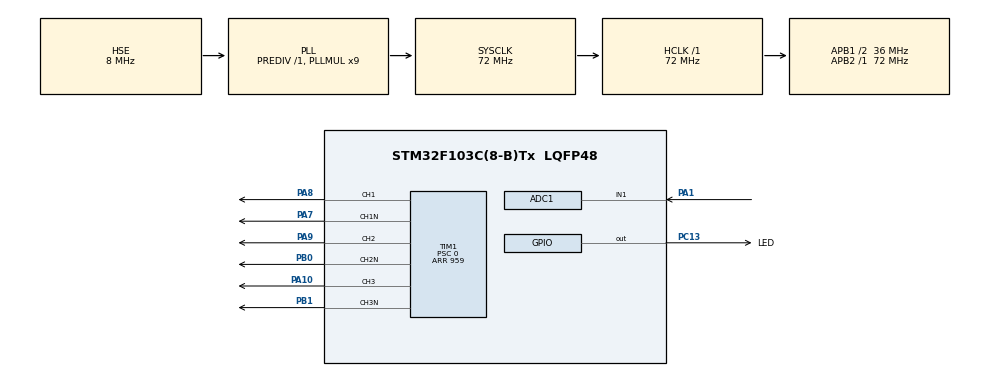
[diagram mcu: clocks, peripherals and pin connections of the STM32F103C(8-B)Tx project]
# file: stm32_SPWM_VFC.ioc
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ADC1.Channel-0\#ChannelRegularConversion=ADC_CHANNEL_1
ADC1.ExternalTrigConv=ADC_EXTERNALTRIGCONV_T3_TRGO
ADC1.NbrOfConversionFlag=1
ADC1.Rank-0\#ChannelRegularConversion=1
ADC1.SamplingTime-0\#ChannelRegularConversion=ADC_SAMPLETIME_1CYCLE_5
ADC1.master=1
Mcu.Family=STM32F1
Mcu.Name=STM32F103C(8-B)Tx
Mcu.Package=LQFP48
NVIC.ADC1_2_IRQn=true\:0\:0\:false\:false\:true\:true\:true\:true
NVIC.PriorityGroup=NVIC_PRIORITYGROUP_4
NVIC.TIM1_CC_IRQn=true\:0\:0\:false\:false\:true\:true\:true\:true
NVIC.TIM1_TRG_COM_IRQn=true\:0\:0\:false\:false\:true\:true\:true\:true
NVIC.TIM1_UP_IRQn=true\:0\:0\:false\:false\:true\:true\:true\:true
NVIC.TIM2_IRQn=true\:0\:0\:false\:false\:true\:true\:true\:true
NVIC.TIM3_IRQn=true\:0\:0\:false\:false\:true\:true\:true\:true
PA1.Signal=ADCx_IN1
PA10.Signal=S_TIM1_CH3
PA7.Mode=PWM Generation1 CH1 CH1N
PA7.Signal=TIM1_CH1N
PA8.Signal=S_TIM1_CH1
PA9.Signal=S_TIM1_CH2
PB0.Mode=PWM Generation2 CH2 CH2N
PB0.Signal=TIM1_CH2N
PB1.Mode=PWM Generation3 CH3 CH3N
PB1.Signal=TIM1_CH3N
PC13-TAMPER-RTC.GPIO_Label=LED
PC13-TAMPER-RTC.GPIO_Speed=GPIO_SPEED_FREQ_HIGH
PC13-TAMPER-RTC.Signal=GPIO_Output
PD0-OSC_IN.Mode=HSE-External-Oscillator
PD0-OSC_IN.Signal=RCC_OSC_IN
PD1-OSC_OUT.Mode=HSE-External-Oscillator
PD1-OSC_OUT.Signal=RCC_OSC_OUT
ProjectManager.HeapSize=0x200
ProjectManager.StackSize=0x400
ProjectManager.TargetToolchain=STM32CubeIDE
RCC.ADCPresc=RCC_ADCPCLK2_DIV6
RCC.AHBFreq_Value=72000000
RCC.APB1CLKDivider=RCC_HCLK_DIV2
RCC.APB1Freq_Value=36000000
RCC.APB1TimFreq_Value=72000000
RCC.APB2Freq_Value=72000000
RCC.APB2TimFreq_Value=72000000
RCC.HCLKFreq_Value=72000000
RCC.PLLMUL=RCC_PLL_MUL9
RCC.PLLSourceVirtual=RCC_PLLSOURCE_HSE
RCC.SYSCLKFreq_VALUE=72000000
RCC.SYSCLKSource=RCC_SYSCLKSOURCE_PLLCLK
RCC.USBFreq_Value=72000000
SH.ADCx_IN1.0=ADC1_IN1,IN1
SH.S_TIM1_CH1.0=TIM1_CH1,PWM Generation1 CH1 CH1N
SH.S_TIM1_CH2.0=TIM1_CH2,PWM Generation2 CH2 CH2N
SH.S_TIM1_CH3.0=TIM1_CH3,PWM Generation3 CH3 CH3N
TIM1.Channel-PWM\ Generation1\ CH1\ CH1N=TIM_CHANNEL_1
TIM1.Channel-PWM\ Generation2\ CH2\ CH2N=TIM_CHANNEL_2
TIM1.Channel-PWM\ Generation3\ CH3\ CH3N=TIM_CHANNEL_3
TIM1.CounterMode=TIM_COUNTERMODE_CENTERALIGNED3
TIM1.DeadTime=172
TIM1.Period=959
TIM1.Prescaler=0
TIM1.TIM_MasterOutputTrigger=TIM_TRGO_ENABLE
TIM2.CounterMode=TIM_COUNTERMODE_CENTERALIGNED3
TIM2.Period=959
TIM2.Prescaler=0
TIM2.TIM_MasterOutputTrigger=TIM_TRGO_UPDATE
TIM3.CounterMode=TIM_COUNTERMODE_CENTERALIGNED3
TIM3.Period=3839
TIM3.Prescaler=1
TIM3.TIM_MasterOutputTrigger=TIM_TRGO_UPDATE
VP_TIM1_VS_ClockSourceINT.Mode=Internal
VP_TIM2_VS_ClockSourceINT.Mode=Internal
VP_TIM2_VS_ClockSourceITR.Mode=TriggerSource_ITR0
VP_TIM2_VS_ControllerModeTrigger.Mode=Trigger Mode
VP_TIM3_VS_ClockSourceINT.Mode=Internal
VP_TIM3_VS_ClockSourceITR.Mode=TriggerSource_ITR0
VP_TIM3_VS_ControllerModeTrigger.Mode=Trigger Mode
board=custom

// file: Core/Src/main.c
/* USER CODE BEGIN Header */
/**
  ******************************************************************************
  * @file           : main.c
  * @brief          : Main program body
  ******************************************************************************
  * @attention
  *
  * Copyright (c) 2024 STMicroelectronics.
  * All rights reserved.
  *
  * This software is licensed under terms that can be found in the LICENSE file
  * in the root directory of this software component.
  * If no LICENSE file comes with this software, it is provided AS-IS.
  *
  ******************************************************************************
  */
/* USER CODE END Header */
#include "main.h"

/* USER CODE BEGIN Includes */
#include "math.h"
#include "table.h"
/* USER CODE END Includes */

/* USER CODE BEGIN PD */
#define PI 3.14159265358979323846

// Switching Frequency
#define FSW 37500.00

// Maximum Values for ADC to Frequency Conversion
#define MAXFREQ 100.00
#define MAXADC 4096.00

// Values for Reference Sine Wave
#define FREQ0 30
#define N0 2500

// Relation between ADC values and Frequency (no es cierto, cambiar nombre)
#define ADCTOFREQ 2.00*MAXADC*FSW/MAXFREQ

// Values for Minimum Frequency (to avoid distortion)
#define FMIN 0.25
#define NMAX 300000
#define ADCMIN FMIN/MAXFREQ*MAXADC

/* USER CODE END PD */

ADC_HandleTypeDef hadc1;

TIM_HandleTypeDef htim1;
TIM_HandleTypeDef htim2;
TIM_HandleTypeDef htim3;

/* USER CODE BEGIN PV */
uint32_t adc_val = 0;
uint32_t adc_val_old = 0;

//int16_t sinValues[1250]; // Size depends on frequency
//uint16_t sinValues[7501];

uint16_t i_aux = 0;
uint32_t counter = 0;
uint32_t counter0 = 0;

uint16_t offset = 0;

//uint16_t N0 = 3750; // Size depends on frequency
uint32_t N;
uint32_t N_old;

//uint16_t freq0 = 5;
uint32_t freq = 100; // Between 375 and 10 Hz
uint32_t freq_old = 100;

double m = 1.00;

const uint16_t phaseA = 0;
uint16_t phaseB;
uint16_t phaseC;
/* USER CODE END PV */

void SystemClock_Config(void);
static void MX_GPIO_Init(void);
static void MX_TIM1_Init(void);
static void MX_TIM2_Init(void);
static void MX_ADC1_Init(void);
static void MX_TIM3_Init(void);
/* USER CODE BEGIN PFP */
void sineValuesGeneration(void);
/* USER CODE END PFP */

int main(void)
{

  /* MCU Configuration--------------------------------------------------------*/

  /* Reset of all peripherals, Initializes the Flash interface and the Systick. */
  HAL_Init();

  /* Configure the system clock */
  SystemClock_Config();

  /* Initialize all configured peripherals */
  MX_GPIO_Init();
  MX_TIM1_Init();
  MX_TIM2_Init();
  MX_ADC1_Init();
  MX_TIM3_Init();
  /* USER CODE BEGIN 2 */

  // Calibrate ADC for better accuracy and start it w/ interrupt
  if(HAL_ADCEx_Calibration_Start(&hadc1) != HAL_OK) Error_Handler();
  if(HAL_ADC_Start_IT(&hadc1) != HAL_OK) Error_Handler();

  //Start PWM generation
  //if(HAL_TIM_Base_Start_IT(&htim3) != HAL_OK) Error_Handler();

  sineValuesGeneration();

  HAL_TIM_Base_Start_IT(&htim2);
  HAL_Delay(250);

  HAL_TIM_Base_Start_IT(&htim3);
  HAL_Delay(250);

  HAL_TIM_PWM_Start(&htim1, TIM_CHANNEL_1);
  HAL_TIMEx_PWMN_Start(&htim1, TIM_CHANNEL_1);

  HAL_TIM_PWM_Start(&htim1, TIM_CHANNEL_2);
  HAL_TIMEx_PWMN_Start(&htim1, TIM_CHANNEL_2);

  HAL_TIM_PWM_Start(&htim1, TIM_CHANNEL_3);
  HAL_TIMEx_PWMN_Start(&htim1, TIM_CHANNEL_3);
  /* USER CODE END 2 */

  /* Infinite loop */
  while (1)
  {

  }
}

void SystemClock_Config(void)
{
  RCC_OscInitTypeDef RCC_OscInitStruct = {0};
  RCC_ClkInitTypeDef RCC_ClkInitStruct = {0};
  RCC_PeriphCLKInitTypeDef PeriphClkInit = {0};

  /** Initializes the RCC Oscillators according to the specified parameters
  * in the RCC_OscInitTypeDef structure.
  */
  RCC_OscInitStruct.OscillatorType = RCC_OSCILLATORTYPE_HSE;
  RCC_OscInitStruct.HSEState = RCC_HSE_ON;
  RCC_OscInitStruct.HSEPredivValue = RCC_HSE_PREDIV_DIV1;
  RCC_OscInitStruct.HSIState = RCC_HSI_ON;
  RCC_OscInitStruct.PLL.PLLState = RCC_PLL_ON;
  RCC_OscInitStruct.PLL.PLLSource = RCC_PLLSOURCE_HSE;
  RCC_OscInitStruct.PLL.PLLMUL = RCC_PLL_MUL9;
  if (HAL_RCC_OscConfig(&RCC_OscInitStruct) != HAL_OK)
  {
    Error_Handler();
  }

  /** Initializes the CPU, AHB and APB buses clocks
  */
  RCC_ClkInitStruct.ClockType = RCC_CLOCKTYPE_HCLK|RCC_CLOCKTYPE_SYSCLK
                              |RCC_CLOCKTYPE_PCLK1|RCC_CLOCKTYPE_PCLK2;
  RCC_ClkInitStruct.SYSCLKSource = RCC_SYSCLKSOURCE_PLLCLK;
  RCC_ClkInitStruct.AHBCLKDivider = RCC_SYSCLK_DIV1;
  RCC_ClkInitStruct.APB1CLKDivider = RCC_HCLK_DIV2;
  RCC_ClkInitStruct.APB2CLKDivider = RCC_HCLK_DIV1;

  if (HAL_RCC_ClockConfig(&RCC_ClkInitStruct, FLASH_LATENCY_2) != HAL_OK)
  {
    Error_Handler();
  }
  PeriphClkInit.PeriphClockSelection = RCC_PERIPHCLK_ADC;
  PeriphClkInit.AdcClockSelection = RCC_ADCPCLK2_DIV6;
  if (HAL_RCCEx_PeriphCLKConfig(&PeriphClkInit) != HAL_OK)
  {
    Error_Handler();
  }
}

static void MX_ADC1_Init(void)
{

  ADC_ChannelConfTypeDef sConfig = {0};

  /** Common config
  */
  hadc1.Instance = ADC1;
  hadc1.Init.ScanConvMode = ADC_SCAN_DISABLE;
  hadc1.Init.ContinuousConvMode = DISABLE;
  hadc1.Init.DiscontinuousConvMode = DISABLE;
  hadc1.Init.ExternalTrigConv = ADC_EXTERNALTRIGCONV_T3_TRGO;
  hadc1.Init.DataAlign = ADC_DATAALIGN_RIGHT;
  hadc1.Init.NbrOfConversion = 1;
  if (HAL_ADC_Init(&hadc1) != HAL_OK)
  {
    Error_Handler();
  }

  /** Configure Regular Channel
  */
  sConfig.Channel = ADC_CHANNEL_1;
  sConfig.Rank = ADC_REGULAR_RANK_1;
  sConfig.SamplingTime = ADC_SAMPLETIME_1CYCLE_5;
  if (HAL_ADC_ConfigChannel(&hadc1, &sConfig) != HAL_OK)
  {
    Error_Handler();
  }

}

static void MX_TIM1_Init(void)
{

  TIM_ClockConfigTypeDef sClockSourceConfig = {0};
  TIM_MasterConfigTypeDef sMasterConfig = {0};
  TIM_OC_InitTypeDef sConfigOC = {0};
  TIM_BreakDeadTimeConfigTypeDef sBreakDeadTimeConfig = {0};

  htim1.Instance = TIM1;
  htim1.Init.Prescaler = 0;
  htim1.Init.CounterMode = TIM_COUNTERMODE_CENTERALIGNED3;
  htim1.Init.Period = 959;
  htim1.Init.ClockDivision = TIM_CLOCKDIVISION_DIV1;
  htim1.Init.RepetitionCounter = 0;
  htim1.Init.AutoReloadPreload = TIM_AUTORELOAD_PRELOAD_DISABLE;
  if (HAL_TIM_Base_Init(&htim1) != HAL_OK)
  {
    Error_Handler();
  }
  sClockSourceConfig.ClockSource = TIM_CLOCKSOURCE_INTERNAL;
  if (HAL_TIM_ConfigClockSource(&htim1, &sClockSourceConfig) != HAL_OK)
  {
    Error_Handler();
  }
  if (HAL_TIM_PWM_Init(&htim1) != HAL_OK)
  {
    Error_Handler();
  }
  sMasterConfig.MasterOutputTrigger = TIM_TRGO_ENABLE;
  sMasterConfig.MasterSlaveMode = TIM_MASTERSLAVEMODE_DISABLE;
  if (HAL_TIMEx_MasterConfigSynchronization(&htim1, &sMasterConfig) != HAL_OK)
  {
    Error_Handler();
  }
  sConfigOC.OCMode = TIM_OCMODE_PWM1;
  sConfigOC.Pulse = 0;
  sConfigOC.OCPolarity = TIM_OCPOLARITY_HIGH;
  sConfigOC.OCNPolarity = TIM_OCNPOLARITY_HIGH;
  sConfigOC.OCFastMode = TIM_OCFAST_DISABLE;
  sConfigOC.OCIdleState = TIM_OCIDLESTATE_RESET;
  sConfigOC.OCNIdleState = TIM_OCNIDLESTATE_RESET;
  if (HAL_TIM_PWM_ConfigChannel(&htim1, &sConfigOC, TIM_CHANNEL_1) != HAL_OK)
  {
    Error_Handler();
  }
  if (HAL_TIM_PWM_ConfigChannel(&htim1, &sConfigOC, TIM_CHANNEL_2) != HAL_OK)
  {
    Error_Handler();
  }
  if (HAL_TIM_PWM_ConfigChannel(&htim1, &sConfigOC, TIM_CHANNEL_3) != HAL_OK)
  {
    Error_Handler();
  }
  sBreakDeadTimeConfig.OffStateRunMode = TIM_OSSR_DISABLE;
  sBreakDeadTimeConfig.OffStateIDLEMode = TIM_OSSI_DISABLE;
  sBreakDeadTimeConfig.LockLevel = TIM_LOCKLEVEL_OFF;
  sBreakDeadTimeConfig.DeadTime = 172;
  sBreakDeadTimeConfig.BreakState = TIM_BREAK_DISABLE;
  sBreakDeadTimeConfig.BreakPolarity = TIM_BREAKPOLARITY_HIGH;
  sBreakDeadTimeConfig.AutomaticOutput = TIM_AUTOMATICOUTPUT_DISABLE;
  if (HAL_TIMEx_ConfigBreakDeadTime(&htim1, &sBreakDeadTimeConfig) != HAL_OK)
  {
    Error_Handler();
  }
  HAL_TIM_MspPostInit(&htim1);

}

static void MX_TIM2_Init(void)
{

  TIM_ClockConfigTypeDef sClockSourceConfig = {0};
  TIM_SlaveConfigTypeDef sSlaveConfig = {0};
  TIM_MasterConfigTypeDef sMasterConfig = {0};

  htim2.Instance = TIM2;
  htim2.Init.Prescaler = 0;
  htim2.Init.CounterMode = TIM_COUNTERMODE_CENTERALIGNED3;
  htim2.Init.Period = 959;
  htim2.Init.ClockDivision = TIM_CLOCKDIVISION_DIV1;
  htim2.Init.AutoReloadPreload = TIM_AUTORELOAD_PRELOAD_DISABLE;
  if (HAL_TIM_Base_Init(&htim2) != HAL_OK)
  {
    Error_Handler();
  }
  sClockSourceConfig.ClockSource = TIM_CLOCKSOURCE_INTERNAL;
  if (HAL_TIM_ConfigClockSource(&htim2, &sClockSourceConfig) != HAL_OK)
  {
    Error_Handler();
  }
  sSlaveConfig.SlaveMode = TIM_SLAVEMODE_TRIGGER;
  sSlaveConfig.InputTrigger = TIM_TS_ITR0;
  if (HAL_TIM_SlaveConfigSynchro(&htim2, &sSlaveConfig) != HAL_OK)
  {
    Error_Handler();
  }
  sMasterConfig.MasterOutputTrigger = TIM_TRGO_UPDATE;
  sMasterConfig.MasterSlaveMode = TIM_MASTERSLAVEMODE_DISABLE;
  if (HAL_TIMEx_MasterConfigSynchronization(&htim2, &sMasterConfig) != HAL_OK)
  {
    Error_Handler();
  }

}

static void MX_TIM3_Init(void)
{

  TIM_ClockConfigTypeDef sClockSourceConfig = {0};
  TIM_SlaveConfigTypeDef sSlaveConfig = {0};
  TIM_MasterConfigTypeDef sMasterConfig = {0};

  htim3.Instance = TIM3;
  htim3.Init.Prescaler = 1;
  htim3.Init.CounterMode = TIM_COUNTERMODE_CENTERALIGNED3;
  htim3.Init.Period = 3839;
  htim3.Init.ClockDivision = TIM_CLOCKDIVISION_DIV1;
  htim3.Init.AutoReloadPreload = TIM_AUTORELOAD_PRELOAD_DISABLE;
  if (HAL_TIM_Base_Init(&htim3) != HAL_OK)
  {
    Error_Handler();
  }
  sClockSourceConfig.ClockSource = TIM_CLOCKSOURCE_INTERNAL;
  if (HAL_TIM_ConfigClockSource(&htim3, &sClockSourceConfig) != HAL_OK)
  {
    Error_Handler();
  }
  sSlaveConfig.SlaveMode = TIM_SLAVEMODE_TRIGGER;
  sSlaveConfig.InputTrigger = TIM_TS_ITR0;
  if (HAL_TIM_SlaveConfigSynchro(&htim3, &sSlaveConfig) != HAL_OK)
  {
    Error_Handler();
  }
  sMasterConfig.MasterOutputTrigger = TIM_TRGO_UPDATE;
  sMasterConfig.MasterSlaveMode = TIM_MASTERSLAVEMODE_DISABLE;
  if (HAL_TIMEx_MasterConfigSynchronization(&htim3, &sMasterConfig) != HAL_OK)
  {
    Error_Handler();
  }

}

static void MX_GPIO_Init(void)
{
  GPIO_InitTypeDef GPIO_InitStruct = {0};

  /* GPIO Ports Clock Enable */
  __HAL_RCC_GPIOC_CLK_ENABLE();
  __HAL_RCC_GPIOD_CLK_ENABLE();
  __HAL_RCC_GPIOA_CLK_ENABLE();
  __HAL_RCC_GPIOB_CLK_ENABLE();

  /*Configure GPIO pin Output Level */
  HAL_GPIO_WritePin(LED_GPIO_Port, LED_Pin, GPIO_PIN_RESET);

  /*Configure GPIO pin : LED_Pin */
  GPIO_InitStruct.Pin = LED_Pin;
  GPIO_InitStruct.Mode = GPIO_MODE_OUTPUT_PP;
  GPIO_InitStruct.Pull = GPIO_NOPULL;
  GPIO_InitStruct.Speed = GPIO_SPEED_FREQ_HIGH;
  HAL_GPIO_Init(LED_GPIO_Port, &GPIO_InitStruct);

}

/* USER CODE BEGIN 4 */

void HAL_ADC_ConvCpltCallback(ADC_HandleTypeDef *hadc) {
	// IMPORTANT: Check time between executions

	adc_val = HAL_ADC_GetValue(&hadc1); // Read ADC value

	if(adc_val_old != adc_val) {

		m = (double)adc_val/MAXADC;           // Modulation index (0 to 1)
		if(m < 0.15) m = 0.15;               // Limit minimum MI to 15%
		offset = 479 - (uint16_t)(478*m);

		if (adc_val < 45) adc_val = 45;

		freq = ((double)adc_val/MAXADC)*MAXFREQ;
		N  = floor(2*FSW/freq);

		counter = round((double)N*(double)counter/(double)N_old);
		N_old = N;

		adc_val_old = adc_val;
	}

	// Check if ADC reading changed
//	if(adc_val_old != adc_val) {
//		m = (float)adc_val/MAXADC;           // Modulation index (0 to 1)
//		if(m < 0.15) m = 0.15;               // Limit minimum MI to 15%
//
//		if((float)adc_val < ADCMIN){ // To limit distortion and avoid N being too big
//			N  = NMAX;
//		}
//		else{
//			N = floor(ADCTOFREQ/(float)adc_val);
//		}
//
//		counter = round((double)N*(double)counter/(double)N_old);
//		N_old = N;
//
//		adc_val_old = adc_val; //freq = adc_val/MAXADC*MAXFREQ
//	}
}

/**
  * @brief  This function pre-generates the sine values for modulator signal.
  * @retval None
  */
void sineValuesGeneration(void){
	// Executed only one time at the start of the program

	// Number of samples for one period
	N  = floor(2*FSW/freq);  // For generated frequency (f).
	N_old = N;

	// Number of samples for phase shifts (with reference to f0)
	phaseB = 1*N0/3 + phaseA;
	phaseC = 2*N0/3 + phaseA;

	// Generation of sinusoidal reference wave
//	for(uint16_t i = 0; i < N0/2; i++){
//		//sinValues[i] = round(959.00*(0.5*m*sin(i*(double)2*PI/(double)N0)+0.5));
//		sinValues[i] = round(959.00*(0.5*sin(i*2.00*PI/N0)+0.5));
//	}
}

void HAL_TIM_PeriodElapsedCallback(TIM_HandleTypeDef *htim){

	if (htim->Instance == htim2.Instance) {
		//Time between executions: 1/(2*FSW) = 13 us

		// Conditioning of counter
		counter0 = round(N0*counter/N);

		//m*(sin()-959/2)
		//m*sin() + (959/2)*(1 - m)

		//

		// Phase detection (A)
		i_aux = counter0 + phaseA;
		if (!(i_aux < N0)) i_aux -= N0;

		//i_aux = (counter0 + phaseA) % N0;
		if (i_aux < 1250){
			TIM1->CCR1 = (m*sinValues[i_aux]) + offset;
		}
		else{
			TIM1->CCR1 = (m*(959 - sinValues[i_aux - 1250])) + offset;
		}

		// Phase detection (B)
		i_aux = counter0 + phaseB;
		if (!(i_aux < N0)) i_aux -= N0;

		if (i_aux < 1250){
			TIM1->CCR2 = (m*sinValues[i_aux]) + offset;
		}
		else{
			TIM1->CCR2 = (m*(959 - sinValues[i_aux - 1250])) + offset;
		}

		// Phase detection (C)
		i_aux = counter0 + phaseC;
		if (!(i_aux < N0)) i_aux -= N0;

		if (i_aux < 1250){
			TIM1->CCR3 = m*(sinValues[i_aux]) + offset;
		}
		else{
			TIM1->CCR3 = m*(959 - sinValues[i_aux - 1250]) + offset;
		}

		counter++;
		if(counter >= N) counter = 0;
	}
}
/* USER CODE END 4 */

void Error_Handler(void)
{
  __disable_irq();
  while (1)
  {
  }
}
